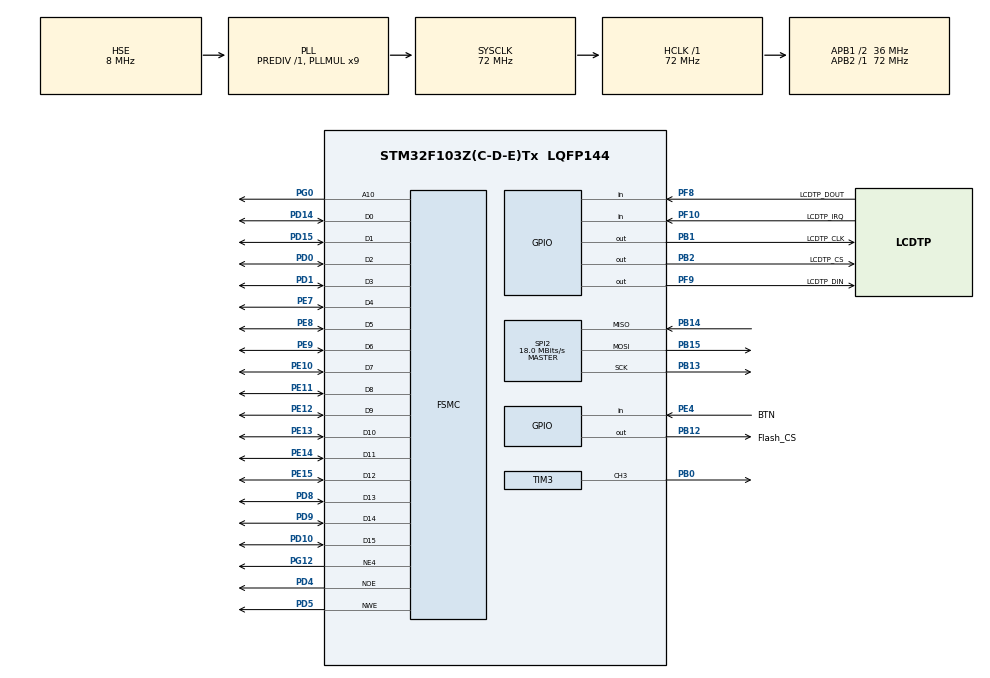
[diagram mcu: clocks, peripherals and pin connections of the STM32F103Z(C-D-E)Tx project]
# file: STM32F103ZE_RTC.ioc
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FSMC.AddressSetupTime1=7
FSMC.BusTurnAroundDuration1=0
FSMC.DataSetupTime1=26
FSMC.ExtendedAddressSetupTime1=1
FSMC.ExtendedBusTurnAroundDuration1=0
FSMC.ExtendedDataSetupTime1=2
FSMC.ExtendedMode1=FSMC_EXTENDED_MODE_ENABLE
Mcu.Family=STM32F1
Mcu.Name=STM32F103Z(C-D-E)Tx
Mcu.Package=LQFP144
NVIC.PriorityGroup=NVIC_PRIORITYGROUP_4
NVIC.TIM4_IRQn=true\:0\:0\:false\:false\:true\:true\:true\:true
OSC_IN.Mode=HSE-External-Oscillator
OSC_IN.Signal=RCC_OSC_IN
OSC_OUT.Mode=HSE-External-Oscillator
OSC_OUT.Signal=RCC_OSC_OUT
PA13.Mode=Serial_Wire
PA13.Signal=SYS_JTMS-SWDIO
PA14.Mode=Serial_Wire
PA14.Signal=SYS_JTCK-SWCLK
PB0.Signal=S_TIM3_CH3
PB1.GPIO_Label=LCDTP_CLK
PB1.Signal=GPIO_Output
PB12.GPIO_Label=Flash_CS
PB12.GPIO_Speed=GPIO_SPEED_FREQ_HIGH
PB12.PinState=GPIO_PIN_SET
PB12.Signal=GPIO_Output
PB13.Mode=Full_Duplex_Master
PB13.Signal=SPI2_SCK
PB14.Mode=Full_Duplex_Master
PB14.Signal=SPI2_MISO
PB15.Mode=Full_Duplex_Master
PB15.Signal=SPI2_MOSI
PB2.GPIO_Label=LCDTP_CS
PB2.GPIO_Speed=GPIO_SPEED_FREQ_MEDIUM
PB2.Signal=GPIO_Output
PC14-OSC32_IN.Mode=LSE-External-Oscillator
PC14-OSC32_IN.Signal=RCC_OSC32_IN
PC15-OSC32_OUT.Mode=LSE-External-Oscillator
PC15-OSC32_OUT.Signal=RCC_OSC32_OUT
PD0.Signal=FSMC_D2_DA2
PD1.Signal=FSMC_D3_DA3
PD10.Signal=FSMC_D15_DA15
PD14.Signal=FSMC_D0_DA0
PD15.Signal=FSMC_D1_DA1
PD4.Signal=FSMC_NOE
PD5.Signal=FSMC_NWE
PD8.Signal=FSMC_D13_DA13
PD9.Signal=FSMC_D14_DA14
PE10.Signal=FSMC_D7_DA7
PE11.Signal=FSMC_D8_DA8
PE12.Signal=FSMC_D9_DA9
PE13.Signal=FSMC_D10_DA10
PE14.Signal=FSMC_D11_DA11
PE15.Signal=FSMC_D12_DA12
PE4.GPIO_Label=BTN
PE4.GPIO_PuPd=GPIO_PULLUP
PE4.Signal=GPIO_Input
PE7.Signal=FSMC_D4_DA4
PE8.Signal=FSMC_D5_DA5
PE9.Signal=FSMC_D6_DA6
PF10.GPIO_Label=LCDTP_IRQ
PF10.Signal=GPIO_Input
PF8.GPIO_Label=LCDTP_DOUT
PF8.GPIO_PuPd=GPIO_PULLUP
PF8.Signal=GPIO_Input
PF9.GPIO_Label=LCDTP_DIN
PF9.GPIO_Speed=GPIO_SPEED_FREQ_HIGH
PF9.PinState=GPIO_PIN_SET
PF9.Signal=GPIO_Output
PG0.Signal=FSMC_A10
PG12.Mode=NorPsramChipSelect4_1
PG12.Signal=FSMC_NE4
ProjectManager.HeapSize=0x800
ProjectManager.StackSize=0x800
ProjectManager.TargetToolchain=STM32CubeIDE
RCC.AHBFreq_Value=72000000
RCC.APB1CLKDivider=RCC_HCLK_DIV2
RCC.APB1Freq_Value=36000000
RCC.APB1TimFreq_Value=72000000
RCC.APB2Freq_Value=72000000
RCC.APB2TimFreq_Value=72000000
RCC.HCLKFreq_Value=72000000
RCC.PLLMUL=RCC_PLL_MUL9
RCC.PLLSourceVirtual=RCC_PLLSOURCE_HSE
RCC.RTCClockSelection=RCC_RTCCLKSOURCE_LSE
RCC.SYSCLKFreq_VALUE=72000000
RCC.SYSCLKSource=RCC_SYSCLKSOURCE_PLLCLK
RCC.USBFreq_Value=72000000
RTC.Format=RTC_FORMAT_BIN
RTC.OutPut=RTC_OUTPUTSOURCE_ALARM
SH.FSMC_A10.0=FSMC_A10,A10_1
SH.FSMC_D0_DA0.0=FSMC_D0,16b-d1
SH.FSMC_D10_DA10.0=FSMC_D10,16b-d1
SH.FSMC_D11_DA11.0=FSMC_D11,16b-d1
SH.FSMC_D12_DA12.0=FSMC_D12,16b-d1
SH.FSMC_D13_DA13.0=FSMC_D13,16b-d1
SH.FSMC_D14_DA14.0=FSMC_D14,16b-d1
SH.FSMC_D15_DA15.0=FSMC_D15,16b-d1
SH.FSMC_D1_DA1.0=FSMC_D1,16b-d1
SH.FSMC_D2_DA2.0=FSMC_D2,16b-d1
SH.FSMC_D3_DA3.0=FSMC_D3,16b-d1
SH.FSMC_D4_DA4.0=FSMC_D4,16b-d1
SH.FSMC_D5_DA5.0=FSMC_D5,16b-d1
SH.FSMC_D6_DA6.0=FSMC_D6,16b-d1
SH.FSMC_D7_DA7.0=FSMC_D7,16b-d1
SH.FSMC_D8_DA8.0=FSMC_D8,16b-d1
SH.FSMC_D9_DA9.0=FSMC_D9,16b-d1
SH.FSMC_NOE.0=FSMC_NOE,Lcd1
SH.FSMC_NWE.0=FSMC_NWE,Lcd1
SH.S_TIM3_CH3.0=TIM3_CH3,PWM Generation3 CH3
SPI2.BaudRatePrescaler=SPI_BAUDRATEPRESCALER_2
SPI2.CalculateBaudRate=18.0 MBits/s
SPI2.Direction=SPI_DIRECTION_2LINES
SPI2.Mode=SPI_MODE_MASTER
SPI2.VirtualType=VM_MASTER
TIM3.Channel-PWM\ Generation3\ CH3=TIM_CHANNEL_3
TIM4.Period=4999
TIM4.Prescaler=7200-1
TIM6.Prescaler=72-1
VP_RTC_VS_RTC_Activate.Mode=RTC_Enabled
VP_TIM3_VS_ClockSourceINT.Mode=Internal
VP_TIM4_VS_ClockSourceINT.Mode=Internal
VP_TIM6_VS_ClockSourceINT.Mode=Enable_Timer
board=custom

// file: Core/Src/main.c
/* USER CODE BEGIN Header */
/**
  ******************************************************************************
  * @file           : main.c
  * @brief          : Main program body
  ******************************************************************************
  * @attention
  *
  * Copyright (c) 2025 STMicroelectronics.
  * All rights reserved.
  *
  * This software is licensed under terms that can be found in the LICENSE file
  * in the root directory of this software component.
  * If no LICENSE file comes with this software, it is provided AS-IS.
  *
  ******************************************************************************
  */
/* USER CODE END Header */
#include "main.h"

/* USER CODE BEGIN Includes */
#include <stdio.h>

#include "ili9341.h"
#include "TEST.h"
#include "time.h"
#include "RTC.h"
#include "touch_panel.h"

/* USER CODE END Includes */

RTC_HandleTypeDef hrtc;

SPI_HandleTypeDef hspi2;

TIM_HandleTypeDef htim3;
TIM_HandleTypeDef htim4;
TIM_HandleTypeDef htim6;

SRAM_HandleTypeDef hsram1;

/* USER CODE BEGIN PV */
char tekst[30];
uint8_t idx[13];
uint8_t idy[13];
//========================

extern lcdPropertiesTypeDef  lcdProperties;
extern uint16_t lcd_text_color ;
extern uint16_t lcd_background_color;
extern uint16_t Paint_Color;

extern uint8_t LCD_WORK_ORIENTATION ;
extern uint8_t LCD_NOT_WORK_ORIENTATION ;
extern uint8_t LCD_PORTRAIT_WORK_ORIENTATION ;
extern uint8_t LCD_PORTRAIT_NOT_WORK_ORIENTATION ;

extern uint8_t change_colors ;
extern uint8_t mode_night ;
//========================
/* USER CODE END PV */

void SystemClock_Config(void);
static void MX_GPIO_Init(void);
static void MX_FSMC_Init(void);
static void MX_SPI2_Init(void);
static void MX_RTC_Init(void);
static void MX_TIM4_Init(void);
static void MX_TIM3_Init(void);
static void MX_TIM6_Init(void);
/* USER CODE BEGIN PFP */

extern void start_Paint(void);

//
//
// RTC_BKP_DR0 value 0-3 LCD_WORK_ORIENTATION ---
// RTC_BKP_DR1 step backlight PWM 0 to 10
// RTC_BKP_DR2 value 0 or 1 color fonts zmienna change_colors
// RTC_BKP_DR3 value 0 or 1 night mode mienna uint8_t mode_night
// RTC_BKP_DR4 value 1-744 hours interval calibrate zmienna u32 HOURS_CALIBRATE_PERIOD
// RTC_BKP_DR5 value -99 to +99 ilo�� sekund do kalibracji zmienna SECONDS_TO_CALIBRATE
// RTC_BKP_DR6 value 0 or 1 slideshow mode zmienna run_slideshow
// RTC_BKP_DR7 value 0 to 10 warto�� nocnego light bez zmiennej
// RTC_BKP_DR8 timestamp_lo 32bit epoch - dorobi� rozbicie na 2 rejestry zapis i odczyt
// RTC_BKP_DR9 timestamp_HI 32bit epoch - dorobi� rozbicie na 2 rejestry zapis i odczyt
// RTC_BKP_DR10 value -99 to 99 century  zmienna century
//
//

/* USER CODE END PFP */

int main(void)
{

  /* MCU Configuration--------------------------------------------------------*/

  /* Reset of all peripherals, Initializes the Flash interface and the Systick. */
  HAL_Init();

  /* Configure the system clock */
  SystemClock_Config();

  /* Initialize all configured peripherals */
  MX_GPIO_Init();
  MX_FSMC_Init();
  MX_SPI2_Init();
  MX_RTC_Init();
  MX_TIM4_Init();
  MX_TIM3_Init();
  MX_TIM6_Init();
  /* USER CODE BEGIN 2 */
  HAL_TIM_Base_Stop_IT(&htim4); // stop INTERRUPT from TIMER4 for colon blink
  check_work_orientation();
  check_slideshow();
  change_colors = HAL_RTCEx_BKUPRead(&hrtc, RTC_BKP_DR2);
  mode_night = HAL_RTCEx_BKUPRead(&hrtc, RTC_BKP_DR3);
  READ_CENTURY();
  CHECK_CALIBRATE_TIME_VALUES(); // check calibration time values and setup if needed
//---
  HAL_TIM_PWM_Start(&htim3, TIM_CHANNEL_3);
//==============================================================
  LCD_ILI9341_init();
  check_work_orientation();
  lcdSetOrientation(LCD_WORK_ORIENTATION);
//====================================================

  readPicFromFlash(7);

  for (int t = 65535; t > 0; t -= 32)
  {
	  HAL_Delay(1);
    __HAL_TIM_SET_COMPARE(&htim3, TIM_CHANNEL_3, t);
  }

  LCD_ClrScr(0);
  set_PWM();

//===================================================================================
//===================================================================================
//===================================================================================
//===================================================================================

  extern RTC_DateTypeDef my_date;
  my_date.Year  = (uint8_t) HAL_RTCEx_BKUPRead(&hrtc, RTC_BKP_DR12);
  my_date.Month = (uint8_t) HAL_RTCEx_BKUPRead(&hrtc, RTC_BKP_DR13);
  my_date.Date  = (uint8_t) HAL_RTCEx_BKUPRead(&hrtc, RTC_BKP_DR14);
  my_date.WeekDay = (uint8_t) 1;

  HAL_RTC_SetDate(&hrtc, &my_date, RTC_FORMAT_BIN);

//===================================================================================
//===================================================================================
//===================================================================================
//===================================================================================

//---
  print_RTC();

//---
  /* USER CODE END 2 */

  /* Infinite loop */
  /* USER CODE BEGIN WHILE */
  while (1)
  {

	test_print_RTC();
	test_setup();
    /* USER CODE END WHILE */

  }
}

void SystemClock_Config(void)
{
  RCC_OscInitTypeDef RCC_OscInitStruct = {0};
  RCC_ClkInitTypeDef RCC_ClkInitStruct = {0};
  RCC_PeriphCLKInitTypeDef PeriphClkInit = {0};

  /** Initializes the RCC Oscillators according to the specified parameters
  * in the RCC_OscInitTypeDef structure.
  */
  RCC_OscInitStruct.OscillatorType = RCC_OSCILLATORTYPE_HSE|RCC_OSCILLATORTYPE_LSE;
  RCC_OscInitStruct.HSEState = RCC_HSE_ON;
  RCC_OscInitStruct.HSEPredivValue = RCC_HSE_PREDIV_DIV1;
  RCC_OscInitStruct.LSEState = RCC_LSE_ON;
  RCC_OscInitStruct.HSIState = RCC_HSI_ON;
  RCC_OscInitStruct.PLL.PLLState = RCC_PLL_ON;
  RCC_OscInitStruct.PLL.PLLSource = RCC_PLLSOURCE_HSE;
  RCC_OscInitStruct.PLL.PLLMUL = RCC_PLL_MUL9;
  if (HAL_RCC_OscConfig(&RCC_OscInitStruct) != HAL_OK)
  {
    Error_Handler();
  }

  /** Initializes the CPU, AHB and APB buses clocks
  */
  RCC_ClkInitStruct.ClockType = RCC_CLOCKTYPE_HCLK|RCC_CLOCKTYPE_SYSCLK
                              |RCC_CLOCKTYPE_PCLK1|RCC_CLOCKTYPE_PCLK2;
  RCC_ClkInitStruct.SYSCLKSource = RCC_SYSCLKSOURCE_PLLCLK;
  RCC_ClkInitStruct.AHBCLKDivider = RCC_SYSCLK_DIV1;
  RCC_ClkInitStruct.APB1CLKDivider = RCC_HCLK_DIV2;
  RCC_ClkInitStruct.APB2CLKDivider = RCC_HCLK_DIV1;

  if (HAL_RCC_ClockConfig(&RCC_ClkInitStruct, FLASH_LATENCY_2) != HAL_OK)
  {
    Error_Handler();
  }
  PeriphClkInit.PeriphClockSelection = RCC_PERIPHCLK_RTC;
  PeriphClkInit.RTCClockSelection = RCC_RTCCLKSOURCE_LSE;
  if (HAL_RCCEx_PeriphCLKConfig(&PeriphClkInit) != HAL_OK)
  {
    Error_Handler();
  }
}

static void MX_RTC_Init(void)
{

  /** Initialize RTC Only
  */
  hrtc.Instance = RTC;
  hrtc.Init.AsynchPrediv = RTC_AUTO_1_SECOND;
  hrtc.Init.OutPut = RTC_OUTPUTSOURCE_ALARM;
  if (HAL_RTC_Init(&hrtc) != HAL_OK)
  {
    Error_Handler();
  }

}

static void MX_SPI2_Init(void)
{

  /* SPI2 parameter configuration*/
  hspi2.Instance = SPI2;
  hspi2.Init.Mode = SPI_MODE_MASTER;
  hspi2.Init.Direction = SPI_DIRECTION_2LINES;
  hspi2.Init.DataSize = SPI_DATASIZE_8BIT;
  hspi2.Init.CLKPolarity = SPI_POLARITY_LOW;
  hspi2.Init.CLKPhase = SPI_PHASE_1EDGE;
  hspi2.Init.NSS = SPI_NSS_SOFT;
  hspi2.Init.BaudRatePrescaler = SPI_BAUDRATEPRESCALER_2;
  hspi2.Init.FirstBit = SPI_FIRSTBIT_MSB;
  hspi2.Init.TIMode = SPI_TIMODE_DISABLE;
  hspi2.Init.CRCCalculation = SPI_CRCCALCULATION_DISABLE;
  hspi2.Init.CRCPolynomial = 10;
  if (HAL_SPI_Init(&hspi2) != HAL_OK)
  {
    Error_Handler();
  }

}

static void MX_TIM3_Init(void)
{

  TIM_ClockConfigTypeDef sClockSourceConfig = {0};
  TIM_MasterConfigTypeDef sMasterConfig = {0};
  TIM_OC_InitTypeDef sConfigOC = {0};

  htim3.Instance = TIM3;
  htim3.Init.Prescaler = 0;
  htim3.Init.CounterMode = TIM_COUNTERMODE_UP;
  htim3.Init.Period = 65535;
  htim3.Init.ClockDivision = TIM_CLOCKDIVISION_DIV1;
  htim3.Init.AutoReloadPreload = TIM_AUTORELOAD_PRELOAD_DISABLE;
  if (HAL_TIM_Base_Init(&htim3) != HAL_OK)
  {
    Error_Handler();
  }
  sClockSourceConfig.ClockSource = TIM_CLOCKSOURCE_INTERNAL;
  if (HAL_TIM_ConfigClockSource(&htim3, &sClockSourceConfig) != HAL_OK)
  {
    Error_Handler();
  }
  if (HAL_TIM_PWM_Init(&htim3) != HAL_OK)
  {
    Error_Handler();
  }
  sMasterConfig.MasterOutputTrigger = TIM_TRGO_RESET;
  sMasterConfig.MasterSlaveMode = TIM_MASTERSLAVEMODE_DISABLE;
  if (HAL_TIMEx_MasterConfigSynchronization(&htim3, &sMasterConfig) != HAL_OK)
  {
    Error_Handler();
  }
  sConfigOC.OCMode = TIM_OCMODE_PWM1;
  sConfigOC.Pulse = 0;
  sConfigOC.OCPolarity = TIM_OCPOLARITY_HIGH;
  sConfigOC.OCFastMode = TIM_OCFAST_DISABLE;
  if (HAL_TIM_PWM_ConfigChannel(&htim3, &sConfigOC, TIM_CHANNEL_3) != HAL_OK)
  {
    Error_Handler();
  }
  HAL_TIM_MspPostInit(&htim3);

}

static void MX_TIM4_Init(void)
{

  TIM_ClockConfigTypeDef sClockSourceConfig = {0};
  TIM_MasterConfigTypeDef sMasterConfig = {0};

  htim4.Instance = TIM4;
  htim4.Init.Prescaler = 7200-1;
  htim4.Init.CounterMode = TIM_COUNTERMODE_UP;
  htim4.Init.Period = 4999;
  htim4.Init.ClockDivision = TIM_CLOCKDIVISION_DIV1;
  htim4.Init.AutoReloadPreload = TIM_AUTORELOAD_PRELOAD_DISABLE;
  if (HAL_TIM_Base_Init(&htim4) != HAL_OK)
  {
    Error_Handler();
  }
  sClockSourceConfig.ClockSource = TIM_CLOCKSOURCE_INTERNAL;
  if (HAL_TIM_ConfigClockSource(&htim4, &sClockSourceConfig) != HAL_OK)
  {
    Error_Handler();
  }
  sMasterConfig.MasterOutputTrigger = TIM_TRGO_RESET;
  sMasterConfig.MasterSlaveMode = TIM_MASTERSLAVEMODE_DISABLE;
  if (HAL_TIMEx_MasterConfigSynchronization(&htim4, &sMasterConfig) != HAL_OK)
  {
    Error_Handler();
  }

}

static void MX_TIM6_Init(void)
{

  TIM_MasterConfigTypeDef sMasterConfig = {0};

  htim6.Instance = TIM6;
  htim6.Init.Prescaler = 72-1;
  htim6.Init.CounterMode = TIM_COUNTERMODE_UP;
  htim6.Init.Period = 65535;
  htim6.Init.AutoReloadPreload = TIM_AUTORELOAD_PRELOAD_DISABLE;
  if (HAL_TIM_Base_Init(&htim6) != HAL_OK)
  {
    Error_Handler();
  }
  sMasterConfig.MasterOutputTrigger = TIM_TRGO_RESET;
  sMasterConfig.MasterSlaveMode = TIM_MASTERSLAVEMODE_DISABLE;
  if (HAL_TIMEx_MasterConfigSynchronization(&htim6, &sMasterConfig) != HAL_OK)
  {
    Error_Handler();
  }

}

static void MX_GPIO_Init(void)
{
  GPIO_InitTypeDef GPIO_InitStruct = {0};

  /* GPIO Ports Clock Enable */
  __HAL_RCC_GPIOE_CLK_ENABLE();
  __HAL_RCC_GPIOC_CLK_ENABLE();
  __HAL_RCC_GPIOF_CLK_ENABLE();
  __HAL_RCC_GPIOB_CLK_ENABLE();
  __HAL_RCC_GPIOG_CLK_ENABLE();
  __HAL_RCC_GPIOD_CLK_ENABLE();
  __HAL_RCC_GPIOA_CLK_ENABLE();

  /*Configure GPIO pin Output Level */
  HAL_GPIO_WritePin(LCDTP_DIN_GPIO_Port, LCDTP_DIN_Pin, GPIO_PIN_SET);

  /*Configure GPIO pin Output Level */
  HAL_GPIO_WritePin(LCDTP_CLK_GPIO_Port, LCDTP_CLK_Pin, GPIO_PIN_RESET);

  /*Configure GPIO pin Output Level */
  HAL_GPIO_WritePin(LCDTP_CS_GPIO_Port, LCDTP_CS_Pin, GPIO_PIN_RESET);

  /*Configure GPIO pin Output Level */
  HAL_GPIO_WritePin(Flash_CS_GPIO_Port, Flash_CS_Pin, GPIO_PIN_SET);

  /*Configure GPIO pin : BTN_Pin */
  GPIO_InitStruct.Pin = BTN_Pin;
  GPIO_InitStruct.Mode = GPIO_MODE_INPUT;
  GPIO_InitStruct.Pull = GPIO_PULLUP;
  HAL_GPIO_Init(BTN_GPIO_Port, &GPIO_InitStruct);

  /*Configure GPIO pin : LCDTP_DIN_Pin */
  GPIO_InitStruct.Pin = LCDTP_DIN_Pin;
  GPIO_InitStruct.Mode = GPIO_MODE_OUTPUT_PP;
  GPIO_InitStruct.Pull = GPIO_NOPULL;
  GPIO_InitStruct.Speed = GPIO_SPEED_FREQ_HIGH;
  HAL_GPIO_Init(LCDTP_DIN_GPIO_Port, &GPIO_InitStruct);

  /*Configure GPIO pin : LCDTP_IRQ_Pin */
  GPIO_InitStruct.Pin = LCDTP_IRQ_Pin;
  GPIO_InitStruct.Mode = GPIO_MODE_INPUT;
  GPIO_InitStruct.Pull = GPIO_NOPULL;
  HAL_GPIO_Init(LCDTP_IRQ_GPIO_Port, &GPIO_InitStruct);

  /*Configure GPIO pin : LCDTP_CLK_Pin */
  GPIO_InitStruct.Pin = LCDTP_CLK_Pin;
  GPIO_InitStruct.Mode = GPIO_MODE_OUTPUT_PP;
  GPIO_InitStruct.Pull = GPIO_NOPULL;
  GPIO_InitStruct.Speed = GPIO_SPEED_FREQ_LOW;
  HAL_GPIO_Init(LCDTP_CLK_GPIO_Port, &GPIO_InitStruct);

  /*Configure GPIO pin : LCDTP_DOUT_Pin */
  GPIO_InitStruct.Pin = LCDTP_DOUT_Pin;
  GPIO_InitStruct.Mode = GPIO_MODE_INPUT;
  GPIO_InitStruct.Pull = GPIO_NOPULL;
  HAL_GPIO_Init(LCDTP_DOUT_GPIO_Port, &GPIO_InitStruct);

  /*Configure GPIO pin : LCDTP_CS_Pin */
  GPIO_InitStruct.Pin = LCDTP_CS_Pin;
  GPIO_InitStruct.Mode = GPIO_MODE_OUTPUT_PP;
  GPIO_InitStruct.Pull = GPIO_NOPULL;
  GPIO_InitStruct.Speed = GPIO_SPEED_FREQ_LOW;
  HAL_GPIO_Init(LCDTP_CS_GPIO_Port, &GPIO_InitStruct);

  /*Configure GPIO pin : Flash_CS_Pin */
  GPIO_InitStruct.Pin = Flash_CS_Pin;
  GPIO_InitStruct.Mode = GPIO_MODE_OUTPUT_PP;
  GPIO_InitStruct.Pull = GPIO_NOPULL;
  GPIO_InitStruct.Speed = GPIO_SPEED_FREQ_HIGH;
  HAL_GPIO_Init(Flash_CS_GPIO_Port, &GPIO_InitStruct);

}

/* FSMC initialization function */
static void MX_FSMC_Init(void)
{

  FSMC_NORSRAM_TimingTypeDef Timing = {0};
  FSMC_NORSRAM_TimingTypeDef ExtTiming = {0};

  /** Perform the SRAM1 memory initialization sequence
  */
  hsram1.Instance = FSMC_NORSRAM_DEVICE;
  hsram1.Extended = FSMC_NORSRAM_EXTENDED_DEVICE;
  /* hsram1.Init */
  hsram1.Init.NSBank = FSMC_NORSRAM_BANK4;
  hsram1.Init.DataAddressMux = FSMC_DATA_ADDRESS_MUX_DISABLE;
  hsram1.Init.MemoryType = FSMC_MEMORY_TYPE_SRAM;
  hsram1.Init.MemoryDataWidth = FSMC_NORSRAM_MEM_BUS_WIDTH_16;
  hsram1.Init.BurstAccessMode = FSMC_BURST_ACCESS_MODE_DISABLE;
  hsram1.Init.WaitSignalPolarity = FSMC_WAIT_SIGNAL_POLARITY_LOW;
  hsram1.Init.WrapMode = FSMC_WRAP_MODE_DISABLE;
  hsram1.Init.WaitSignalActive = FSMC_WAIT_TIMING_BEFORE_WS;
  hsram1.Init.WriteOperation = FSMC_WRITE_OPERATION_ENABLE;
  hsram1.Init.WaitSignal = FSMC_WAIT_SIGNAL_DISABLE;
  hsram1.Init.ExtendedMode = FSMC_EXTENDED_MODE_ENABLE;
  hsram1.Init.AsynchronousWait = FSMC_ASYNCHRONOUS_WAIT_DISABLE;
  hsram1.Init.WriteBurst = FSMC_WRITE_BURST_DISABLE;
  /* Timing */
  Timing.AddressSetupTime = 7;
  Timing.AddressHoldTime = 15;
  Timing.DataSetupTime = 26;
  Timing.BusTurnAroundDuration = 0;
  Timing.CLKDivision = 16;
  Timing.DataLatency = 17;
  Timing.AccessMode = FSMC_ACCESS_MODE_A;
  /* ExtTiming */
  ExtTiming.AddressSetupTime = 1;
  ExtTiming.AddressHoldTime = 15;
  ExtTiming.DataSetupTime = 2;
  ExtTiming.BusTurnAroundDuration = 0;
  ExtTiming.CLKDivision = 16;
  ExtTiming.DataLatency = 17;
  ExtTiming.AccessMode = FSMC_ACCESS_MODE_A;

  if (HAL_SRAM_Init(&hsram1, &Timing, &ExtTiming) != HAL_OK)
  {
    Error_Handler( );
  }

  /** Disconnect NADV
  */

  __HAL_AFIO_FSMCNADV_DISCONNECTED();

}

void Error_Handler(void)
{
  __disable_irq();
  while (1)
  {
  }
}
